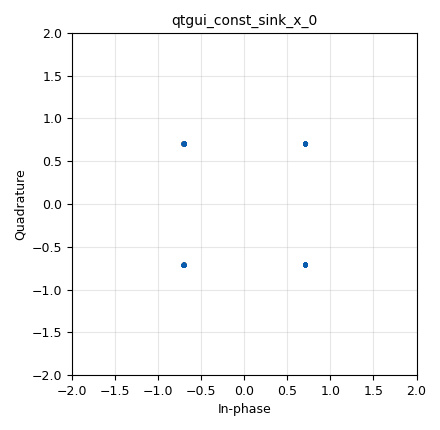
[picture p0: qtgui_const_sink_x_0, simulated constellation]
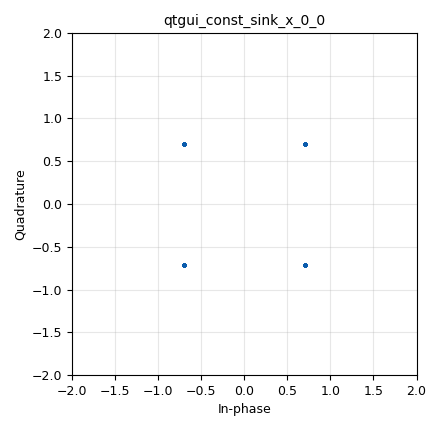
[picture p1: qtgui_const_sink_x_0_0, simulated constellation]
<?xml version='1.0' encoding='utf-8'?>
<?grc format='1' created='3.7.10'?>
<flow_graph>
<block>
<key>options</key>
<param><key>id</key><value>noise_influence</value></param>
<param><key>author</key><value>Alexandros-Apostolos A. Boulogeorgos</value></param>
<param><key>generate_options</key><value>qt_gui</value></param>
<param><key>title</key><value>Noise in QPSK</value></param>
</block>
<block>
<key>variable</key>
<param><key>id</key><value>Ns</value></param>
<param><key>value</key><value>10000000</value></param>
</block>
<block>
<key>variable_qtgui_range</key>
<param><key>id</key><value>noise_source_amplitude</value></param>
<param><key>value</key><value>0.001</value></param>
<param><key>label</key><value>Noise amplitude</value></param>
<param><key>orient</key><value>Qt.Horizontal</value></param>
<param><key>start</key><value>0.0001</value></param>
<param><key>step</key><value>0.0001</value></param>
<param><key>stop</key><value>100</value></param>
</block>
<block>
<key>variable</key>
<param><key>id</key><value>samp_rate</value></param>
<param><key>value</key><value>100000</value></param>
</block>
<block>
<key>analog_noise_source_x</key>
<param><key>id</key><value>analog_noise_source_x_0</value></param>
<param><key>amp</key><value>noise_source_amplitude</value></param>
<param><key>noise_type</key><value>analog.GR_GAUSSIAN</value></param>
<param><key>type</key><value>complex</value></param>
<param><key>seed</key><value>42</value></param>
</block>
<block>
<key>analog_random_source_x</key>
<param><key>id</key><value>analog_random_source_x_0</value></param>
<param><key>max</key><value>4</value></param>
<param><key>min</key><value>0</value></param>
<param><key>num_samps</key><value>Ns</value></param>
<param><key>type</key><value>int</value></param>
<param><key>repeat</key><value>True</value></param>
</block>
<block>
<key>blocks_add_xx</key>
<param><key>id</key><value>blocks_add_xx_0</value></param>
<param><key>type</key><value>complex</value></param>
</block>
<block>
<key>digital_chunks_to_symbols_xx</key>
<param><key>id</key><value>digital_chunks_to_symbols_xx_0</value></param>
<param><key>dimension</key><value>1</value></param>
<param><key>in_type</key><value>int</value></param>
<param><key>out_type</key><value>complex</value></param>
<param><key>symbol_table</key><value>(0.707107+0.707107j, -0.707107+0.707107j, -0.707107-0.707107j, 0.707107-0.707107j)</value></param>
</block>
<block>
<key>qtgui_const_sink_x</key>
<param><key>id</key><value>qtgui_const_sink_x_0</value></param>
<param><key>size</key><value>1024</value></param>
<param><key>type</key><value>complex</value></param>
</block>
<block>
<key>qtgui_const_sink_x</key>
<param><key>id</key><value>qtgui_const_sink_x_0_0</value></param>
<param><key>size</key><value>1024</value></param>
<param><key>type</key><value>complex</value></param>
</block>
<connection><source_block_id>analog_noise_source_x_0</source_block_id><sink_block_id>blocks_add_xx_0</sink_block_id><source_key>0</source_key><sink_key>1</sink_key></connection>
<connection><source_block_id>analog_random_source_x_0</source_block_id><sink_block_id>digital_chunks_to_symbols_xx_0</sink_block_id><source_key>0</source_key><sink_key>0</sink_key></connection>
<connection><source_block_id>blocks_add_xx_0</source_block_id><sink_block_id>qtgui_const_sink_x_0</sink_block_id><source_key>0</source_key><sink_key>0</sink_key></connection>
<connection><source_block_id>digital_chunks_to_symbols_xx_0</source_block_id><sink_block_id>blocks_add_xx_0</sink_block_id><source_key>0</source_key><sink_key>0</sink_key></connection>
<connection><source_block_id>digital_chunks_to_symbols_xx_0</source_block_id><sink_block_id>qtgui_const_sink_x_0_0</sink_block_id><source_key>0</source_key><sink_key>0</sink_key></connection>
</flow_graph>
